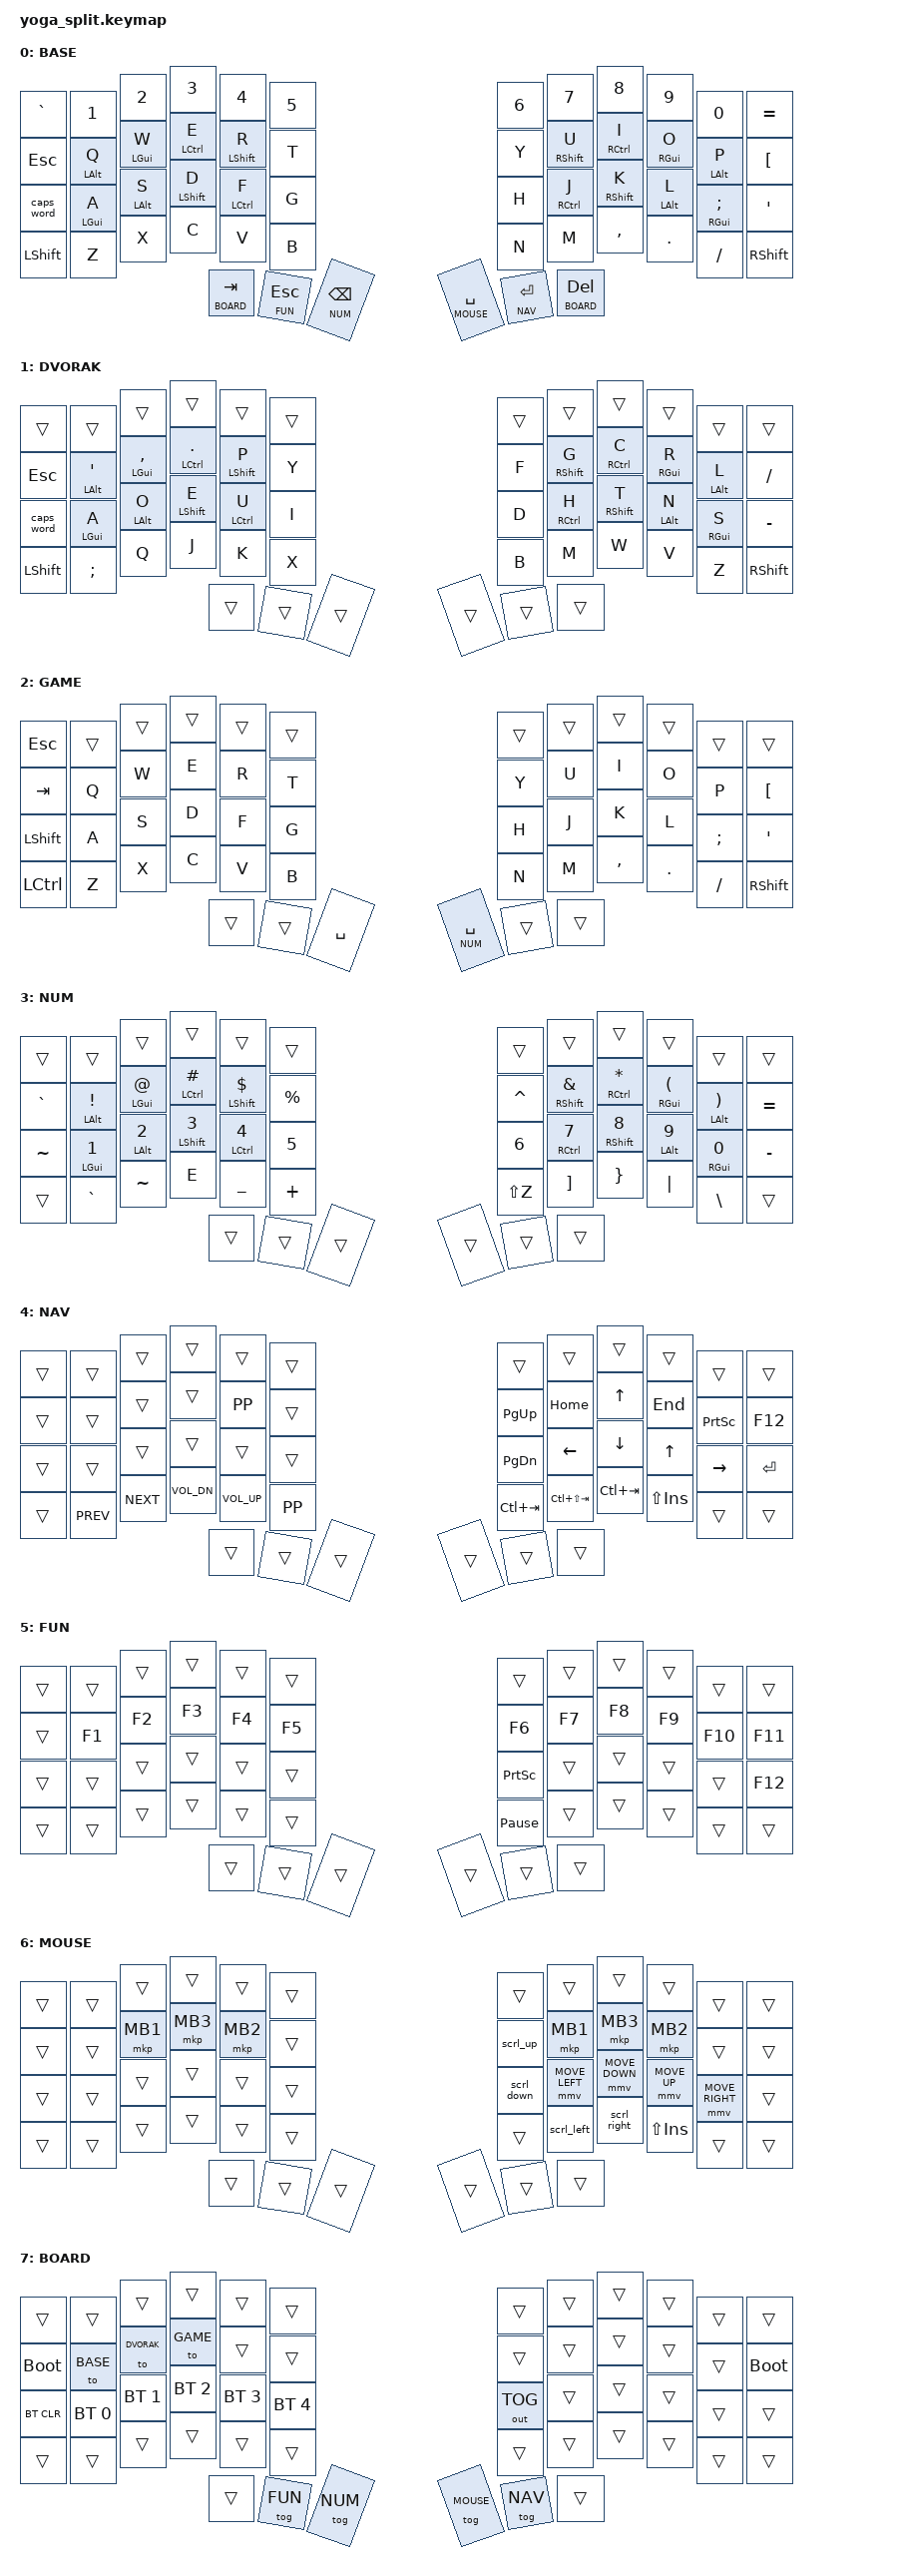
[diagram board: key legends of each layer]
/*
 * Yoga Split / Yoga Mono keymap, generated by tools/port_link_keymap.py from
 * BlaiseRideout/zmk-configs link/link.keymap. Edit that file and re-run the script, or
 * edit this one directly if the two boards should diverge.
 */

/*
 * Copyright (c) 2020 The ZMK Contributors
 *
 * SPDX-License-Identifier: MIT
 */

// Mouse key top speed in counts per second (ZMK default 600). Matches QMK's
// MOUSEKEY_MOVE_DELTA 5 * MOUSEKEY_MAX_SPEED 8 = 40 counts per 16ms report.
#define ZMK_POINTING_DEFAULT_MOVE_VAL 2500

#include <behaviors.dtsi>
#include <dt-bindings/zmk/bt.h>
#include <dt-bindings/zmk/keys.h>
#include <dt-bindings/zmk/mouse.h>
#include <dt-bindings/zmk/outputs.h>
#include <dt-bindings/zmk/pointing.h>

// Layer numbers follow the order of the layers in the keymap below, and a
// higher layer wins. The base layer modes (DVORAK, GAME) come right after BASE,
// as in the QMK keymap, so the layer-tap layers and BOARD work in every mode.
#define BASE 0
#define DVORAK 1
#define GAME 2
#define NUM 3
#define NAV 4
#define FUN 5
#define MOUSE 6
#define BOARD 7

&mt {
  flavor = "tap-preferred";
  tapping_term_ms = <150>;
  quick-tap-ms = <100>;
};

&lt {
  flavor = "tap-preferred";
  tapping_term_ms = <150>;
  quick-tap-ms = <100>;
};

&caps_word {
  // MINUS: qwerty underscore. SEMI COMMA DOT FSLH SQT: the qwerty keycodes of
  // s w v z and - when the OS is set to dvorak, so those letters and the
  // underscore are shifted too. Shift-list keys also continue caps word.
  shift-list = <MINUS SEMI COMMA DOT FSLH SQT>;
  continue-list = <UNDERSCORE BACKSPACE DELETE>;
};

&mmv {
    x-input-code = <INPUT_REL_X>;
    y-input-code = <INPUT_REL_Y>;
    time-to-max-speed-ms = <720>; // QMK MOUSEKEY_TIME_TO_MAX: 45 reports * 16ms
    acceleration-exponent = <1>;
};


/ {
  behaviors {
    // Home row mod timings match the QMK keymap: tapping terms of 125ms
    // (shift), 165ms (alt/ctrl) and 200ms (gui) and quick-tap = tapping term.

    // Holding both shift modtaps turns on caps word, like QMK's
    // BOTH_SHIFTS_TURNS_ON_CAPS_WORD: each side's hold is a shift that morphs
    // into caps word while the other side's shift is held. The hold param
    // (LSHFT/RSHFT) is ignored and only documents which shift is sent.
    lsft_cw: lsft_cw {
      compatible = "zmk,behavior-mod-morph";
      #binding-cells = <0>;
      bindings = <&kp LSHFT>, <&caps_word>;
      mods = <(MOD_RSFT)>;
    };

    rsft_cw: rsft_cw {
      compatible = "zmk,behavior-mod-morph";
      #binding-cells = <0>;
      bindings = <&kp RSHFT>, <&caps_word>;
      mods = <(MOD_LSFT)>;
    };

    mt_lsft: mt_lsft {
      compatible = "zmk,behavior-hold-tap";
      label = "left shift modtap";
      #binding-cells = <2>;
      tapping_term_ms = <125>;
      quick-tap-ms = <125>;
      flavor = "tap-preferred";
      bindings = <&lsft_cw>, <&kp>;
    };

    mt_rsft: mt_rsft {
      compatible = "zmk,behavior-hold-tap";
      label = "right shift modtap";
      #binding-cells = <2>;
      tapping_term_ms = <125>;
      quick-tap-ms = <125>;
      flavor = "tap-preferred";
      bindings = <&rsft_cw>, <&kp>;
    };

    mt_gui: mt_gui {
      compatible = "zmk,behavior-hold-tap";
      label = "gui modtap";
      #binding-cells = <2>;
      tapping_term_ms = <200>;
      quick-tap-ms = <200>;
      flavor = "tap-preferred";
      bindings = <&kp>, <&kp>;
    };

    mt_actl: mt_actl {
      compatible = "zmk,behavior-hold-tap";
      label = "alt/ctrl modtap";
      #binding-cells = <2>;
      tapping_term_ms = <165>;
      quick-tap-ms = <165>;
      flavor = "tap-preferred";
      bindings = <&kp>, <&kp>;
    };

    // Like &lt, but tapping then holding again within quick-tap-ms holds
    // backspace (as lt_spc does for space) instead of activating the layer
    lt_bspc: lt_bspc {
      compatible = "zmk,behavior-hold-tap";
      label = "backspace layer-tap";
      #binding-cells = <2>;
      tapping_term_ms = <150>;
      quick-tap-ms = <150>;
      flavor = "tap-preferred";
      bindings = <&mo>, <&kp>;
    };

    lt_spc: lt_spc {
      compatible = "zmk,behavior-hold-tap";
      label = "space modtap";
      #binding-cells = <2>;
      tapping_term_ms = <175>;
      quick-tap-ms = <150>;
      require-prior-idle-ms = <150>;
      flavor = "tap-preferred";
      bindings = <&mo>, <&kp>;
    };

    // Scroll keys send one wheel step as soon as they're pressed, like QMK, and
    // keep scrolling while held. &msc alone needs ~100ms of hold for its first
    // step, so a quick tap did nothing. msc_step runs for exactly one 32ms tick
    // at 32 steps/s (one step), then &msc takes over until release.
    msc_step: msc_step {
      compatible = "zmk,behavior-input-two-axis";
      #binding-cells = <1>;
      x-input-code = <INPUT_REL_HWHEEL>;
      y-input-code = <INPUT_REL_WHEEL>;
      trigger-period-ms = <32>;
      time-to-max-speed-ms = <0>;
      acceleration-exponent = <0>;
    };

#define SCROLL_MACRO(name, step, hold)                                         \
    name: name {                                                               \
      compatible = "zmk,behavior-macro";                                       \
      #binding-cells = <0>;                                                    \
      wait-ms = <0>;                                                           \
      tap-ms = <0>;                                                            \
      /* &macro_wait_time sets the wait after each following binding */         \
      bindings = <&macro_wait_time 48>, <&macro_press &msc_step step>,         \
                 <&macro_wait_time 0>, <&macro_release &msc_step step>,        \
                 <&macro_press &msc hold>, <&macro_pause_for_release>,         \
                 <&macro_release &msc hold>;                                   \
    };

    SCROLL_MACRO(scrl_up, MOVE_Y(32), SCRL_UP)
    SCROLL_MACRO(scrl_down, MOVE_Y(-32), SCRL_DOWN)
    SCROLL_MACRO(scrl_left, MOVE_X(-32), SCRL_LEFT)
    SCROLL_MACRO(scrl_right, MOVE_X(32), SCRL_RIGHT)
  };

  msc_step_listener: msc_step_listener {
    compatible = "zmk,input-listener";
    device = <&msc_step>;
  };

  // Layout: number row, the corne 3x6 block and three thumb keys per half
  // (the Link's inner thumbs; its encoder buttons and outer thumbs are dropped).
  keymap {
    compatible = "zmk,keymap";

    BASE_LAYER {
        display-name = "BASE";
        bindings = <
    &kp GRAVE           &kp N1              &kp N2              &kp N3              &kp N4              &kp N5                 &kp N6              &kp N7              &kp N8              &kp N9              &kp N0              &kp EQUAL
    &kp ESC             &mt_actl LALT Q     &mt_gui  LGUI W     &mt_actl LCTRL E    &mt_lsft LSHFT R    &kp T                  &kp Y               &mt_rsft RSHFT U    &mt_actl RCTRL I    &mt_gui  RGUI O     &mt_actl LALT P     &kp LBKT
    &caps_word          &mt_gui  LGUI A     &mt_actl LALT S     &mt_lsft LSHFT D    &mt_actl LCTRL F    &kp G                  &kp H               &mt_actl RCTRL J    &mt_rsft RSHFT K    &mt_actl LALT L     &mt_gui  RGUI SEMI  &kp SQT
    &kp LSHFT           &kp Z               &kp X               &kp C               &kp V               &kp B                  &kp N               &kp M               &kp COMMA           &kp DOT             &kp FSLH            &kp RSHFT
                                                                &lt BOARD TAB       &lt FUN ESC         &lt_bspc NUM BSPC      &lt_spc MOUSE SPACE &lt NAV ENTER       &lt BOARD DEL

        >;
    };
    // dvorak
    DVORAK_LAYER {
        display-name = "DVORAK";
        bindings = <
    &trans              &trans              &trans              &trans              &trans              &trans                 &trans              &trans              &trans              &trans              &trans              &trans
    &kp ESC             &mt_actl LALT SQT   &mt_gui  LGUI COMMA &mt_actl LCTRL DOT  &mt_lsft LSHFT P    &kp Y                  &kp F               &mt_rsft RSHFT G    &mt_actl RCTRL C    &mt_gui  RGUI R     &mt_actl LALT L     &kp FSLH
    &caps_word          &mt_gui  LGUI A     &mt_actl LALT O     &mt_lsft LSHFT E    &mt_actl LCTRL U    &kp I                  &kp D               &mt_actl RCTRL H    &mt_rsft RSHFT T    &mt_actl LALT N     &mt_gui  RGUI S     &kp MINUS
    &kp LSHFT           &kp SEMI            &kp Q               &kp J               &kp K               &kp X                  &kp B               &kp M               &kp W               &kp V               &kp Z               &kp RSHFT
                                                                &trans              &trans              &trans                 &trans              &trans              &trans

        >;
    };
    // gaming
    GAME_LAYER {
        display-name = "GAME";
        bindings = <
    &kp ESC           &trans            &trans            &trans            &trans            &trans               &trans            &trans            &trans            &trans            &trans            &trans
    &kp TAB           &kp Q             &kp W             &kp E             &kp R             &kp T                &kp Y             &kp U             &kp I             &kp O             &kp P             &kp LBKT
    &kp LSHFT         &kp A             &kp S             &kp D             &kp F             &kp G                &kp H             &kp J             &kp K             &kp L             &kp SEMI          &kp SQT
    &kp LCTRL         &kp Z             &kp X             &kp C             &kp V             &kp B                &kp N             &kp M             &kp COMMA         &kp DOT           &kp FSLH          &kp RSHFT
                                                          &trans            &trans            &kp SPACE            &lt_spc NUM SPACE &trans            &trans

        >;
    };
    // num/sym
    NUM_LAYER {
        display-name = "NUM";
        bindings = <
    &trans               &trans               &trans               &trans               &trans               &trans                  &trans               &trans               &trans               &trans               &trans               &trans
    &kp GRAVE            &mt_actl LALT EXCL   &mt_gui  LGUI AT     &mt_actl LCTRL HASH  &mt_lsft LSHFT DLLR  &kp PRCNT               &kp CARET            &mt_rsft RSHFT AMPS  &mt_actl RCTRL ASTRK &mt_gui  RGUI LPAR   &mt_actl LALT RPAR   &kp EQUAL
    &kp TILDE            &mt_gui  LGUI N1     &mt_actl LALT N2     &mt_lsft LSHFT N3    &mt_actl LCTRL N4    &kp N5                  &kp N6               &mt_actl RCTRL N7    &mt_rsft RSHFT N8    &mt_actl LALT N9     &mt_gui  RGUI N0     &kp MINUS
    &trans               &kp GRAVE            &kp TILDE            &kp E                &kp UNDER            &kp PLUS                &kp LS(Z)            &kp RBKT             &kp RBRC             &kp PIPE             &kp BSLH             &trans
                                                                   &trans               &trans               &trans                  &trans               &trans               &trans

        >;
    };
    // nav
    NAV_LAYER {
        display-name = "NAV";
        bindings = <
    &trans          &trans          &trans          &trans          &trans          &trans             &trans          &trans          &trans          &trans          &trans          &trans
    &trans          &trans          &trans          &trans          &kp K_PP        &trans             &kp PG_UP       &kp HOME        &kp UP          &kp END         &kp PSCRN       &kp F12
    &trans          &trans          &trans          &trans          &trans          &trans             &kp PG_DN       &kp LEFT        &kp DOWN        &kp UP          &kp RIGHT       &kp ENTER
    &trans          &kp K_PREV      &kp K_NEXT      &kp K_VOL_DN    &kp K_VOL_UP    &kp K_PP           &kp LC(TAB)     &kp LC(LS(TAB)) &kp LC(TAB)     &kp LS(INS)     &trans          &trans
                                                    &trans          &trans          &trans             &trans          &trans          &trans

        >;
    };
    // fun
    FUN_LAYER {
        display-name = "FUN";
        bindings = <
    &trans          &trans          &trans          &trans          &trans          &trans             &trans          &trans          &trans          &trans          &trans          &trans
    &trans          &kp F1          &kp F2          &kp F3          &kp F4          &kp F5             &kp F6          &kp F7          &kp F8          &kp F9          &kp F10         &kp F11
    &trans          &trans          &trans          &trans          &trans          &trans             &kp PSCRN       &trans          &trans          &trans          &trans          &kp F12
    &trans          &trans          &trans          &trans          &trans          &trans             &kp PAUSE_BREAK &trans          &trans          &trans          &trans          &trans
                                                    &trans          &trans          &trans             &trans          &trans          &trans

        >;
    };
    // mouse
    MOUSE_LAYER {
        display-name = "MOUSE";
        bindings = <
    &trans          &trans          &trans          &trans          &trans          &trans             &trans          &trans          &trans          &trans          &trans          &trans
    &trans          &trans          &mkp MB1        &mkp MB3        &mkp MB2        &trans             &scrl_up        &mkp MB1        &mkp MB3        &mkp MB2        &trans          &trans
    &trans          &trans          &trans          &trans          &trans          &trans             &scrl_down      &mmv MOVE_LEFT  &mmv MOVE_DOWN  &mmv MOVE_UP    &mmv MOVE_RIGHT &trans
    &trans          &trans          &trans          &trans          &trans          &trans             &trans          &scrl_left      &scrl_right     &kp  LS(INS)    &trans          &trans
                                                    &trans          &trans          &trans             &trans          &trans          &trans

        >;
    };
    // keyboard
    BOARD_LAYER {
        display-name = "BOARD";
        bindings = <
    &trans       &trans       &trans       &trans       &trans       &trans          &trans       &trans       &trans       &trans       &trans       &trans
    &bootloader  &to BASE     &to DVORAK   &to GAME     &trans       &trans          &trans       &trans       &trans       &trans       &trans       &bootloader
    &bt BT_CLR   &bt BT_SEL 0 &bt BT_SEL 1 &bt BT_SEL 2 &bt BT_SEL 3 &bt BT_SEL 4    &out OUT_TOG &trans       &trans       &trans       &trans       &trans
    &trans       &trans       &trans       &trans       &trans       &trans          &trans       &trans       &trans       &trans       &trans       &trans
                                           &trans       &tog FUN     &tog NUM        &tog MOUSE   &tog NAV     &trans

        >;
    };
  };
};
